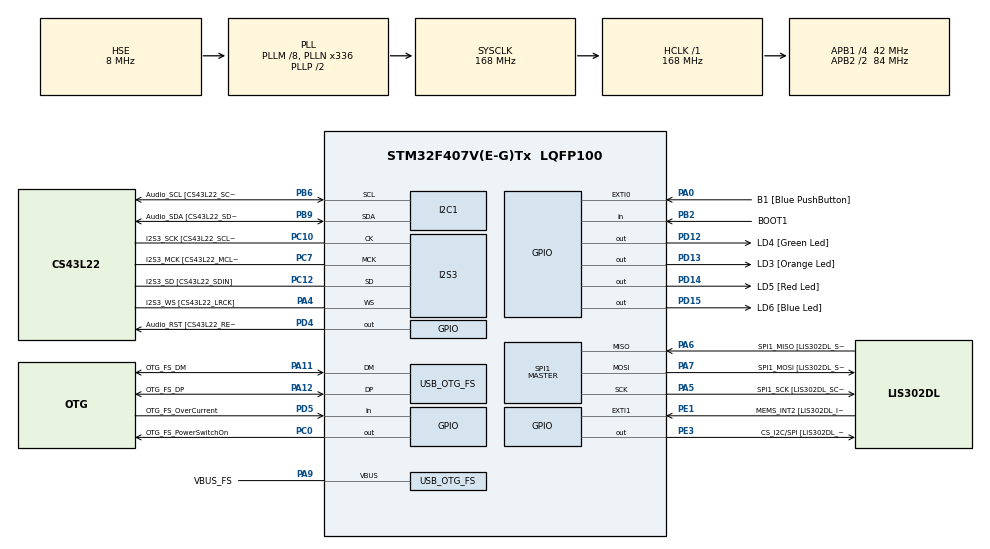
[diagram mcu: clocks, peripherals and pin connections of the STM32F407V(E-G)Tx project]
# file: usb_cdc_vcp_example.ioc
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I2S3.AudioFreq-Half_Duplex_Master=I2S_AUDIOFREQ_96K
I2S3.ErrorAudioFreq=-2.34 %
I2S3.ErrorAudioFreq-Half_Duplex_Master=0.8 %
I2S3.FullDuplexMode=I2S_FULLDUPLEXMODE_DISABLE
I2S3.Instance=SPI$Index
I2S3.RealAudioFreq=93.75 KHz
I2S3.RealAudioFreq-Half_Duplex_Master=96.774 KHz
I2S3.VirtualMode=I2S_MODE_MASTER
Mcu.Family=STM32F4
Mcu.Name=STM32F407V(E-G)Tx
Mcu.Package=LQFP100
NVIC.OTG_FS_IRQn=true\:0\:0\:false\:false\:true\:true\:true
NVIC.PriorityGroup=NVIC_PRIORITYGROUP_0
PA0-WKUP.GPIO_Label=B1 [Blue PushButton]
PA0-WKUP.GPIO_ModeDefaultEXTI=GPIO_MODE_EVT_RISING
PA0-WKUP.GPIO_PuPd=GPIO_NOPULL
PA0-WKUP.Signal=GPXTI0
PA10.GPIO_Label=OTG_FS_ID
PA10.GPIO_Mode=GPIO_MODE_AF_PP
PA10.GPIO_PuPd=GPIO_NOPULL
PA10.GPIO_Speed=GPIO_SPEED_FREQ_LOW
PA10.Signal=USB_OTG_FS_ID
PA11.GPIO_Label=OTG_FS_DM
PA11.GPIO_Mode=GPIO_MODE_AF_PP
PA11.GPIO_PuPd=GPIO_NOPULL
PA11.GPIO_Speed=GPIO_SPEED_FREQ_LOW
PA11.Mode=Device_Only
PA11.Signal=USB_OTG_FS_DM
PA12.GPIO_Label=OTG_FS_DP
PA12.GPIO_Mode=GPIO_MODE_AF_PP
PA12.GPIO_PuPd=GPIO_NOPULL
PA12.GPIO_Speed=GPIO_SPEED_FREQ_LOW
PA12.Mode=Device_Only
PA12.Signal=USB_OTG_FS_DP
PA13.GPIO_Label=SWDIO
PA13.Mode=Serial_Wire
PA13.Signal=SYS_JTMS-SWDIO
PA14.GPIO_Label=SWCLK
PA14.Mode=Serial_Wire
PA14.Signal=SYS_JTCK-SWCLK
PA4.GPIO_Label=I2S3_WS [CS43L22_LRCK]
PA4.GPIO_Mode=GPIO_MODE_AF_PP
PA4.GPIO_PuPd=GPIO_NOPULL
PA4.GPIO_Speed=GPIO_SPEED_FREQ_LOW
PA4.Mode=Half_Duplex_Master
PA4.Signal=I2S3_WS
PA5.GPIO_Label=SPI1_SCK [LIS302DL_SCL/SPC]
PA5.GPIO_Mode=GPIO_MODE_AF_PP
PA5.GPIO_PuPd=GPIO_NOPULL
PA5.GPIO_Speed=GPIO_SPEED_FREQ_LOW
PA5.Mode=Full_Duplex_Master
PA5.Signal=SPI1_SCK
PA6.GPIO_Label=SPI1_MISO [LIS302DL_SDO]
PA6.GPIO_Mode=GPIO_MODE_AF_PP
PA6.GPIO_PuPd=GPIO_NOPULL
PA6.GPIO_Speed=GPIO_SPEED_FREQ_LOW
PA6.Mode=Full_Duplex_Master
PA6.Signal=SPI1_MISO
PA7.GPIO_Label=SPI1_MOSI [LIS302DL_SDA/SDI/SDO]
PA7.GPIO_Mode=GPIO_MODE_AF_PP
PA7.GPIO_PuPd=GPIO_NOPULL
PA7.GPIO_Speed=GPIO_SPEED_FREQ_LOW
PA7.Mode=Full_Duplex_Master
PA7.Signal=SPI1_MOSI
PA9.GPIO_Label=VBUS_FS
PA9.GPIO_Mode=GPIO_MODE_INPUT
PA9.GPIO_PuPd=GPIO_NOPULL
PA9.Mode=Activate_VBUS
PA9.Signal=USB_OTG_FS_VBUS
PB10.GPIO_Label=CLK_IN [MP45DT02_CLK]
PB10.GPIO_Mode=GPIO_MODE_AF_PP
PB10.GPIO_PuPd=GPIO_NOPULL
PB10.GPIO_Speed=GPIO_SPEED_FREQ_LOW
PB10.Signal=I2S2_CK
PB2.GPIO_Label=BOOT1
PB2.GPIO_Mode=GPIO_MODE_INPUT
PB2.GPIO_PuPd=GPIO_NOPULL
PB2.Signal=GPIO_Input
PB3.GPIO_Label=SWO
PB3.Signal=SYS_JTDO-SWO
PB6.GPIO_Label=Audio_SCL [CS43L22_SCL]
PB6.GPIO_Mode=GPIO_MODE_AF_OD
PB6.GPIO_PuPd=GPIO_NOPULL
PB6.GPIO_Speed=GPIO_SPEED_FREQ_LOW
PB6.Mode=I2C
PB6.Signal=I2C1_SCL
PB9.GPIO_Label=Audio_SDA [CS43L22_SDA]
PB9.GPIO_Mode=GPIO_MODE_AF_OD
PB9.GPIO_PuPd=GPIO_NOPULL
PB9.GPIO_Speed=GPIO_SPEED_FREQ_LOW
PB9.Mode=I2C
PB9.Signal=I2C1_SDA
PC0.GPIO_Label=OTG_FS_PowerSwitchOn
PC0.GPIO_PuPd=GPIO_NOPULL
PC0.GPIO_Speed=GPIO_SPEED_FREQ_LOW
PC0.PinState=GPIO_PIN_SET
PC0.Signal=GPIO_Output
PC10.GPIO_Label=I2S3_SCK [CS43L22_SCLK]
PC10.GPIO_Mode=GPIO_MODE_AF_PP
PC10.GPIO_PuPd=GPIO_NOPULL
PC10.GPIO_Speed=GPIO_SPEED_FREQ_LOW
PC10.Mode=Half_Duplex_Master
PC10.Signal=I2S3_CK
PC12.GPIO_Label=I2S3_SD [CS43L22_SDIN]
PC12.GPIO_Mode=GPIO_MODE_AF_PP
PC12.GPIO_PuPd=GPIO_NOPULL
PC12.GPIO_Speed=GPIO_SPEED_FREQ_LOW
PC12.Mode=Half_Duplex_Master
PC12.Signal=I2S3_SD
PC14-OSC32_IN.GPIO_Label=PC14-OSC32_IN
PC14-OSC32_IN.Mode=LSE-External-Oscillator
PC14-OSC32_IN.Signal=RCC_OSC32_IN
PC15-OSC32_OUT.GPIO_Label=PC15-OSC32_OUT
PC15-OSC32_OUT.Mode=LSE-External-Oscillator
PC15-OSC32_OUT.Signal=RCC_OSC32_OUT
PC3.GPIO_Label=PDM_OUT [MP45DT02_DOUT]
PC3.GPIO_Mode=GPIO_MODE_AF_PP
PC3.GPIO_PuPd=GPIO_NOPULL
PC3.GPIO_Speed=GPIO_SPEED_FREQ_LOW
PC3.Signal=I2S2_SD
PC7.GPIO_Label=I2S3_MCK [CS43L22_MCLK]
PC7.GPIO_Mode=GPIO_MODE_AF_PP
PC7.GPIO_PuPd=GPIO_NOPULL
PC7.GPIO_Speed=GPIO_SPEED_FREQ_LOW
PC7.Mode=Master_Clock_Activated
PC7.Signal=I2S3_MCK
PD12.GPIO_Label=LD4 [Green Led]
PD12.GPIO_PuPd=GPIO_NOPULL
PD12.GPIO_Speed=GPIO_SPEED_FREQ_LOW
PD12.Signal=GPIO_Output
PD13.GPIO_Label=LD3 [Orange Led]
PD13.GPIO_PuPd=GPIO_NOPULL
PD13.GPIO_Speed=GPIO_SPEED_FREQ_LOW
PD13.Signal=GPIO_Output
PD14.GPIO_Label=LD5 [Red Led]
PD14.GPIO_PuPd=GPIO_NOPULL
PD14.GPIO_Speed=GPIO_SPEED_FREQ_LOW
PD14.Signal=GPIO_Output
PD15.GPIO_Label=LD6 [Blue Led]
PD15.GPIO_PuPd=GPIO_NOPULL
PD15.GPIO_Speed=GPIO_SPEED_FREQ_LOW
PD15.Signal=GPIO_Output
PD4.GPIO_Label=Audio_RST [CS43L22_RESET]
PD4.GPIO_PuPd=GPIO_NOPULL
PD4.GPIO_Speed=GPIO_SPEED_FREQ_LOW
PD4.Signal=GPIO_Output
PD5.GPIO_Label=OTG_FS_OverCurrent
PD5.GPIO_Mode=GPIO_MODE_INPUT
PD5.GPIO_PuPd=GPIO_NOPULL
PD5.Signal=GPIO_Input
PE1.GPIO_Label=MEMS_INT2 [LIS302DL_INT2]
PE1.GPIO_ModeDefaultEXTI=GPIO_MODE_EVT_RISING
PE1.GPIO_PuPd=GPIO_NOPULL
PE1.Signal=GPXTI1
PE3.GPIO_Label=CS_I2C/SPI [LIS302DL_CS_I2C/SPI]
PE3.GPIO_PuPd=GPIO_NOPULL
PE3.GPIO_Speed=GPIO_SPEED_FREQ_LOW
PE3.Signal=GPIO_Output
PH0-OSC_IN.GPIO_Label=PH0-OSC_IN
PH0-OSC_IN.Mode=HSE-External-Oscillator
PH0-OSC_IN.Signal=RCC_OSC_IN
PH1-OSC_OUT.GPIO_Label=PH1-OSC_OUT
PH1-OSC_OUT.Mode=HSE-External-Oscillator
PH1-OSC_OUT.Signal=RCC_OSC_OUT
ProjectManager.HeapSize=0x800
ProjectManager.StackSize=0x400
ProjectManager.TargetToolchain=STM32CubeIDE
RCC.48MHZClocksFreq_Value=48000000
RCC.AHBFreq_Value=168000000
RCC.APB1CLKDivider=RCC_HCLK_DIV4
RCC.APB1Freq_Value=42000000
RCC.APB1TimFreq_Value=84000000
RCC.APB2CLKDivider=RCC_HCLK_DIV2
RCC.APB2Freq_Value=84000000
RCC.APB2TimFreq_Value=168000000
RCC.CortexFreq_Value=168000000
RCC.HCLKFreq_Value=168000000
RCC.HSE_VALUE=8000000
RCC.HSI_VALUE=16000000
RCC.PLLM=8
RCC.PLLN=336
RCC.PLLQ=7
RCC.SYSCLKFreq_VALUE=168000000
RCC.SYSCLKSource=RCC_SYSCLKSOURCE_PLLCLK
RCC.VCOOutputFreq_Value=336000000
SPI1.BaudRatePrescaler-Full_Duplex_Master=SPI_BAUDRATEPRESCALER_2
SPI1.CalculateBaudRate-Full_Duplex_Master=42.0 MBits/s
SPI1.Direction=SPI_DIRECTION_2LINES
SPI1.Mode=SPI_MODE_MASTER
SPI1.Mode-Full_Duplex_Master=SPI_MODE_MASTER
SPI1.VirtualType=VM_MASTER
USB_DEVICE.CLASS_NAME_FS=CDC
USB_DEVICE.LANGID_STRING-CDC_FS=1033
USB_DEVICE.MANUFACTURER_STRING-CDC_FS=SistemiEmbedded
USB_DEVICE.VirtualMode-CDC_FS=Cdc
USB_DEVICE.VirtualModeFS=Cdc_FS
USB_OTG_FS.VirtualMode=Device_Only
VP_USB_DEVICE_VS_USB_DEVICE_CDC_FS.Mode=CDC_FS
board=STM32F407G-DISC1

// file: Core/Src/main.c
/* USER CODE BEGIN Header */
/**
  ******************************************************************************
  * @file           : main.c
  * @brief          : Main program body
  ******************************************************************************
  * @attention
  *
  * <h2><center>&copy; Copyright (c) 2020 STMicroelectronics.
  * All rights reserved.</center></h2>
  *
  * This software component is licensed by ST under Ultimate Liberty license
  * SLA0044, the "License"; You may not use this file except in compliance with
  * the License. You may obtain a copy of the License at:
  *                             www.st.com/SLA0044
  *
  ******************************************************************************
  */
/* USER CODE END Header */

#include "main.h"
#include "usb_device.h"

/* USER CODE BEGIN Includes */
#include "usb_vcp_debugger.h"

/* USER CODE END Includes */

I2C_HandleTypeDef hi2c1;

I2S_HandleTypeDef hi2s3;

SPI_HandleTypeDef hspi1;

/* USER CODE BEGIN PV */
int count = 0;
extern uint32_t rx_buf_len;
/* USER CODE END PV */

void SystemClock_Config(void);
static void MX_GPIO_Init(void);
static void MX_I2C1_Init(void);
static void MX_I2S3_Init(void);
static void MX_SPI1_Init(void);

/* USER CODE BEGIN 0 */

/**
 * @brief Funione invocata dalla printf per scrivere sul file o come nel nostro
 * caso su dispositivo scelto per effettuare l'input
 * @param file: file su cui scrivere, nel nostro caso non viene usato.
 * @param ptr: puntatore al buffer che contiene quello che si vuole scrivere
 * sul file o sul dispositivo
 * @param len: lungezza del contenuto del buffer
 * @retval numero di byte scritti
 */
int _write(int file, char *ptr, int len){

	int status = CDC_Transmit_FS(ptr, len);

	if (!status)
		return len;
	else
		return 0;
}

/**
 * @brief Funione invocata dalla scanf per leggere dal file o come nel nostro
 * caso su dispositivo scelto per effettuare l'input
 * @param file: file da cui leggere, nel nostro caso non viene usato.
 * @param ptr: puntatore al buffer in cui copiare il buffer letto
 * @param len: lungezza massima del buffer da leggere
 * @retval numero di byte letti
 */

int _read(int file, char *ptr, int len){
	while(rx_buf_len == 0);
	return User_CDC_Receive_FS(ptr, len);

}

/* USER CODE END 0 */

int main(void)
{

  /* MCU Configuration--------------------------------------------------------*/

  /* Reset of all peripherals, Initializes the Flash interface and the Systick. */
  HAL_Init();

  /* Configure the system clock */
  SystemClock_Config();

  /* Initialize all configured peripherals */
  MX_GPIO_Init();
  MX_I2C1_Init();
  MX_I2S3_Init();
  MX_SPI1_Init();
  MX_USB_DEVICE_Init();
  /* USER CODE BEGIN 2 */

  /*Aspetto che la usb sia davvero connessa
   * se risponde set allora ha senso fare la delay*/

  while( HAL_GPIO_ReadPin(GPIOA, GPIO_PIN_9) == GPIO_PIN_RESET);
  HAL_Delay(4000);

  uint8_t str[20] = "[Gruppo 1] USB-VCP!";
  vcp_debugger debugger;
  USB_VCP_DEBUGGER_init(&debugger, str);

  uint8_t buf[8];
  for(int i = 0; i <= 8; i++){
		snprintf((char *)buf, 8, "wait %d", count); // puts string into buffer
		USB_VCP_DEBUGGER_print(&debugger, INFO_L, buf);
		//HAL_Delay(1500);
		USB_VCP_DEBUGGER_print(&debugger, WARN_L, buf);
		//HAL_Delay(1500);
		USB_VCP_DEBUGGER_print(&debugger, ERROR_L, buf);
		printf("%s\r\n", buf);
		//HAL_Delay(500);
		count++;

  }

  /* USER CODE END 2 */

  /* Infinite loop */
  /* USER CODE BEGIN WHILE */
  uint32_t read_bytes;
  uint8_t read_buf[1024];
  while (1)
  {
  	/*read_bytes = User_CDC_Receive_FS(read_buf, 1024)
  	if(read_bytes > 0){
  		printf("Read %d\r\n", read_bytes);
  	}*/
  	printf("Wait user input \r\n", read_buf);
  	scanf("%s", read_buf);
		printf("Read %s\r\n", read_buf);

  	HAL_Delay(600);
  	/* USER CODE END WHILE */

  }
}

void SystemClock_Config(void)
{
  RCC_OscInitTypeDef RCC_OscInitStruct = {0};
  RCC_ClkInitTypeDef RCC_ClkInitStruct = {0};
  RCC_PeriphCLKInitTypeDef PeriphClkInitStruct = {0};

  /** Configure the main internal regulator output voltage
  */
  __HAL_RCC_PWR_CLK_ENABLE();
  __HAL_PWR_VOLTAGESCALING_CONFIG(PWR_REGULATOR_VOLTAGE_SCALE1);
  /** Initializes the CPU, AHB and APB busses clocks
  */
  RCC_OscInitStruct.OscillatorType = RCC_OSCILLATORTYPE_HSE;
  RCC_OscInitStruct.HSEState = RCC_HSE_ON;
  RCC_OscInitStruct.PLL.PLLState = RCC_PLL_ON;
  RCC_OscInitStruct.PLL.PLLSource = RCC_PLLSOURCE_HSE;
  RCC_OscInitStruct.PLL.PLLM = 8;
  RCC_OscInitStruct.PLL.PLLN = 336;
  RCC_OscInitStruct.PLL.PLLP = RCC_PLLP_DIV2;
  RCC_OscInitStruct.PLL.PLLQ = 7;
  if (HAL_RCC_OscConfig(&RCC_OscInitStruct) != HAL_OK)
  {
    Error_Handler();
  }
  /** Initializes the CPU, AHB and APB busses clocks
  */
  RCC_ClkInitStruct.ClockType = RCC_CLOCKTYPE_HCLK|RCC_CLOCKTYPE_SYSCLK
                              |RCC_CLOCKTYPE_PCLK1|RCC_CLOCKTYPE_PCLK2;
  RCC_ClkInitStruct.SYSCLKSource = RCC_SYSCLKSOURCE_PLLCLK;
  RCC_ClkInitStruct.AHBCLKDivider = RCC_SYSCLK_DIV1;
  RCC_ClkInitStruct.APB1CLKDivider = RCC_HCLK_DIV4;
  RCC_ClkInitStruct.APB2CLKDivider = RCC_HCLK_DIV2;

  if (HAL_RCC_ClockConfig(&RCC_ClkInitStruct, FLASH_LATENCY_5) != HAL_OK)
  {
    Error_Handler();
  }
  PeriphClkInitStruct.PeriphClockSelection = RCC_PERIPHCLK_I2S;
  PeriphClkInitStruct.PLLI2S.PLLI2SN = 192;
  PeriphClkInitStruct.PLLI2S.PLLI2SR = 2;
  if (HAL_RCCEx_PeriphCLKConfig(&PeriphClkInitStruct) != HAL_OK)
  {
    Error_Handler();
  }
}

static void MX_I2C1_Init(void)
{

  hi2c1.Instance = I2C1;
  hi2c1.Init.ClockSpeed = 100000;
  hi2c1.Init.DutyCycle = I2C_DUTYCYCLE_2;
  hi2c1.Init.OwnAddress1 = 0;
  hi2c1.Init.AddressingMode = I2C_ADDRESSINGMODE_7BIT;
  hi2c1.Init.DualAddressMode = I2C_DUALADDRESS_DISABLE;
  hi2c1.Init.OwnAddress2 = 0;
  hi2c1.Init.GeneralCallMode = I2C_GENERALCALL_DISABLE;
  hi2c1.Init.NoStretchMode = I2C_NOSTRETCH_DISABLE;
  if (HAL_I2C_Init(&hi2c1) != HAL_OK)
  {
    Error_Handler();
  }

}

static void MX_I2S3_Init(void)
{

  hi2s3.Instance = SPI3;
  hi2s3.Init.Mode = I2S_MODE_MASTER_TX;
  hi2s3.Init.Standard = I2S_STANDARD_PHILIPS;
  hi2s3.Init.DataFormat = I2S_DATAFORMAT_16B;
  hi2s3.Init.MCLKOutput = I2S_MCLKOUTPUT_ENABLE;
  hi2s3.Init.AudioFreq = I2S_AUDIOFREQ_96K;
  hi2s3.Init.CPOL = I2S_CPOL_LOW;
  hi2s3.Init.ClockSource = I2S_CLOCK_PLL;
  hi2s3.Init.FullDuplexMode = I2S_FULLDUPLEXMODE_DISABLE;
  if (HAL_I2S_Init(&hi2s3) != HAL_OK)
  {
    Error_Handler();
  }

}

static void MX_SPI1_Init(void)
{

  /* SPI1 parameter configuration*/
  hspi1.Instance = SPI1;
  hspi1.Init.Mode = SPI_MODE_MASTER;
  hspi1.Init.Direction = SPI_DIRECTION_2LINES;
  hspi1.Init.DataSize = SPI_DATASIZE_8BIT;
  hspi1.Init.CLKPolarity = SPI_POLARITY_LOW;
  hspi1.Init.CLKPhase = SPI_PHASE_1EDGE;
  hspi1.Init.NSS = SPI_NSS_SOFT;
  hspi1.Init.BaudRatePrescaler = SPI_BAUDRATEPRESCALER_2;
  hspi1.Init.FirstBit = SPI_FIRSTBIT_MSB;
  hspi1.Init.TIMode = SPI_TIMODE_DISABLE;
  hspi1.Init.CRCCalculation = SPI_CRCCALCULATION_DISABLE;
  hspi1.Init.CRCPolynomial = 10;
  if (HAL_SPI_Init(&hspi1) != HAL_OK)
  {
    Error_Handler();
  }

}

static void MX_GPIO_Init(void)
{
  GPIO_InitTypeDef GPIO_InitStruct = {0};

  /* GPIO Ports Clock Enable */
  __HAL_RCC_GPIOE_CLK_ENABLE();
  __HAL_RCC_GPIOC_CLK_ENABLE();
  __HAL_RCC_GPIOH_CLK_ENABLE();
  __HAL_RCC_GPIOA_CLK_ENABLE();
  __HAL_RCC_GPIOB_CLK_ENABLE();
  __HAL_RCC_GPIOD_CLK_ENABLE();

  /*Configure GPIO pin Output Level */
  HAL_GPIO_WritePin(CS_I2C_SPI_GPIO_Port, CS_I2C_SPI_Pin, GPIO_PIN_RESET);

  /*Configure GPIO pin Output Level */
  HAL_GPIO_WritePin(OTG_FS_PowerSwitchOn_GPIO_Port, OTG_FS_PowerSwitchOn_Pin, GPIO_PIN_SET);

  /*Configure GPIO pin Output Level */
  HAL_GPIO_WritePin(GPIOD, LD4_Pin|LD3_Pin|LD5_Pin|LD6_Pin
                          |Audio_RST_Pin, GPIO_PIN_RESET);

  /*Configure GPIO pin : CS_I2C_SPI_Pin */
  GPIO_InitStruct.Pin = CS_I2C_SPI_Pin;
  GPIO_InitStruct.Mode = GPIO_MODE_OUTPUT_PP;
  GPIO_InitStruct.Pull = GPIO_NOPULL;
  GPIO_InitStruct.Speed = GPIO_SPEED_FREQ_LOW;
  HAL_GPIO_Init(CS_I2C_SPI_GPIO_Port, &GPIO_InitStruct);

  /*Configure GPIO pin : OTG_FS_PowerSwitchOn_Pin */
  GPIO_InitStruct.Pin = OTG_FS_PowerSwitchOn_Pin;
  GPIO_InitStruct.Mode = GPIO_MODE_OUTPUT_PP;
  GPIO_InitStruct.Pull = GPIO_NOPULL;
  GPIO_InitStruct.Speed = GPIO_SPEED_FREQ_LOW;
  HAL_GPIO_Init(OTG_FS_PowerSwitchOn_GPIO_Port, &GPIO_InitStruct);

  /*Configure GPIO pin : PDM_OUT_Pin */
  GPIO_InitStruct.Pin = PDM_OUT_Pin;
  GPIO_InitStruct.Mode = GPIO_MODE_AF_PP;
  GPIO_InitStruct.Pull = GPIO_NOPULL;
  GPIO_InitStruct.Speed = GPIO_SPEED_FREQ_LOW;
  GPIO_InitStruct.Alternate = GPIO_AF5_SPI2;
  HAL_GPIO_Init(PDM_OUT_GPIO_Port, &GPIO_InitStruct);

  /*Configure GPIO pin : B1_Pin */
  GPIO_InitStruct.Pin = B1_Pin;
  GPIO_InitStruct.Mode = GPIO_MODE_EVT_RISING;
  GPIO_InitStruct.Pull = GPIO_NOPULL;
  HAL_GPIO_Init(B1_GPIO_Port, &GPIO_InitStruct);

  /*Configure GPIO pin : BOOT1_Pin */
  GPIO_InitStruct.Pin = BOOT1_Pin;
  GPIO_InitStruct.Mode = GPIO_MODE_INPUT;
  GPIO_InitStruct.Pull = GPIO_NOPULL;
  HAL_GPIO_Init(BOOT1_GPIO_Port, &GPIO_InitStruct);

  /*Configure GPIO pin : CLK_IN_Pin */
  GPIO_InitStruct.Pin = CLK_IN_Pin;
  GPIO_InitStruct.Mode = GPIO_MODE_AF_PP;
  GPIO_InitStruct.Pull = GPIO_NOPULL;
  GPIO_InitStruct.Speed = GPIO_SPEED_FREQ_LOW;
  GPIO_InitStruct.Alternate = GPIO_AF5_SPI2;
  HAL_GPIO_Init(CLK_IN_GPIO_Port, &GPIO_InitStruct);

  /*Configure GPIO pins : LD4_Pin LD3_Pin LD5_Pin LD6_Pin
                           Audio_RST_Pin */
  GPIO_InitStruct.Pin = LD4_Pin|LD3_Pin|LD5_Pin|LD6_Pin
                          |Audio_RST_Pin;
  GPIO_InitStruct.Mode = GPIO_MODE_OUTPUT_PP;
  GPIO_InitStruct.Pull = GPIO_NOPULL;
  GPIO_InitStruct.Speed = GPIO_SPEED_FREQ_LOW;
  HAL_GPIO_Init(GPIOD, &GPIO_InitStruct);

  /*Configure GPIO pin : OTG_FS_OverCurrent_Pin */
  GPIO_InitStruct.Pin = OTG_FS_OverCurrent_Pin;
  GPIO_InitStruct.Mode = GPIO_MODE_INPUT;
  GPIO_InitStruct.Pull = GPIO_NOPULL;
  HAL_GPIO_Init(OTG_FS_OverCurrent_GPIO_Port, &GPIO_InitStruct);

  /*Configure GPIO pin : MEMS_INT2_Pin */
  GPIO_InitStruct.Pin = MEMS_INT2_Pin;
  GPIO_InitStruct.Mode = GPIO_MODE_EVT_RISING;
  GPIO_InitStruct.Pull = GPIO_NOPULL;
  HAL_GPIO_Init(MEMS_INT2_GPIO_Port, &GPIO_InitStruct);

}

void Error_Handler(void)
{
  /* USER CODE BEGIN Error_Handler_Debug */
  /* User can add his own implementation to report the HAL error return state */
	HAL_GPIO_WritePin(LD3_GPIO_Port, LD3_Pin, 1);
	HAL_GPIO_WritePin(LD3_GPIO_Port, LD4_Pin, 1);
	HAL_GPIO_WritePin(LD3_GPIO_Port, LD5_Pin, 1);
	HAL_GPIO_WritePin(LD3_GPIO_Port, LD6_Pin, 1);

  /* USER CODE END Error_Handler_Debug */
}

/************************ (C) COPYRIGHT STMicroelectronics *****END OF FILE****/
